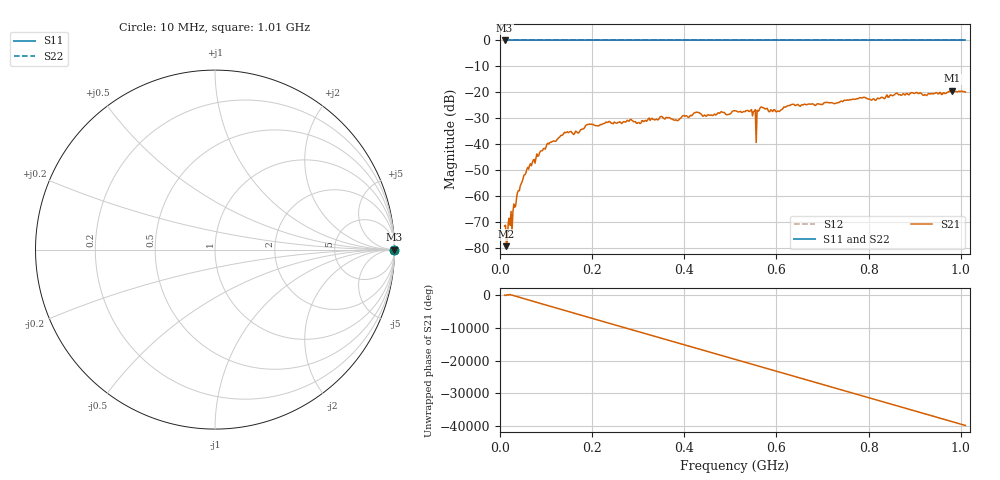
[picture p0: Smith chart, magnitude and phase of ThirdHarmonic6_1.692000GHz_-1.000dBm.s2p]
! 8/16/2025 8:19:35 PM
! C:\ANRITSUVNA\TEMP\TEMP.S2P
! CHANNEL.1
! TR.MEASUREMENT
! RAW.DATA
! RF.CORRECTION.OFF
! AVERAGING.OFF
! IF.BANDWIDTH: 5KHZ
! SWEEPTYPE:  FREQ.SWEEP(Linear)
! Reference Plane Port Info
! PORT:  PORT1  PORT2
! DISTANCE:  0  m  0  m
! TIME:  0  s  0  s
! PHASE.OFFSET:  0  deg.  0  deg.
! LOSS:  0  dB  0  dB
! REF.LOSS:  0  dB  0  dB
! REF.FREQ:  0  Hz  0  Hz
! Power Info
! POWER:  -20  dBm  -20  dBm
! EFF.POWER:  -20  dBm  -20  dBm
! SOURCE.ATTEN:  0  dB  0  dB
! TEST.ATTEN:  0  dB  0  dB
# GHZ S RI R 50.0
! FREQ.GHZ  S11RE  S11IM  S21RE  S21IM  S12RE  S12IM  S22RE  S22IM
!; PortSelection: Port_12
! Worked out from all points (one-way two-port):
!   501 points, 10 MHz to 1.01 GHz, reference 50 ohm
!   highest |S21| = -19.30 dB at 982 MHz (marker M1); lowest = -79.2 dB at 14 MHz (marker M2)
!   lowest |S11| = 0.0 dB at 10 MHz (marker M3)
!   |S11| at or under -10 dB: nowhere
!   |S22| runs from 0.0 to 0.0 dB; largest |S21 - S12| = 1.1
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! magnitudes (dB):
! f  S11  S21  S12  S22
! 10 MHz  0.0  -71.4  0.0  0.0
! 14 MHz  0.0  -79.2  0.0  0.0
! 30 MHz  0.0  -62.9  0.0  0.0
! 42 MHz  0.0  -57.8  0.0  0.0
! 62 MHz  0.0  -49.5  0.0  0.0
! 106 MHz  0.0  -39.9  0.0  0.0
! 142 MHz  0.0  -35.5  0.0  0.0
! 178 MHz  0.0  -34.2  0.0  0.0
! 194 MHz  0.0  -32.2  0.0  0.0
! 344 MHz  0.0  -30.4  0.0  0.0
! 510 MHz  0.0  -27.1  0.0  0.0
! 550 MHz  0.0  -27.4  0.0  0.0
! 552 MHz  0.0  -27.2  0.0  0.0
! 560 MHz  0.0  -27.2  0.0  0.0
! 562 MHz  0.0  -27.0  0.0  0.0
! 568 MHz  0.0  -25.7  0.0  0.0
! 602 MHz  0.0  -27.1  0.0  0.0
! 634 MHz  0.0  -24.6  0.0  0.0
! 678 MHz  0.0  -24.4  0.0  0.0
! 844 MHz  0.0  -21.8  0.0  0.0
! 982 MHz  0.0  -19.3  0.0  0.0
! 1.01 GHz  0.0  -19.9  0.0  0.0
